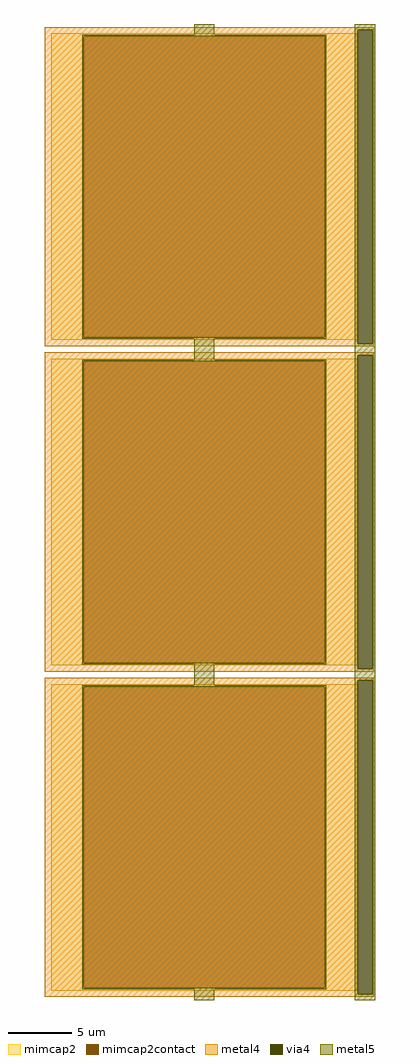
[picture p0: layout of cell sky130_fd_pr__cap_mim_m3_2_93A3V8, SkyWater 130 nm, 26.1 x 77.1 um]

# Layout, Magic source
magic
tech sky130A
magscale 1 2
<< metal4 >>
rect -2599 7619 2599 7660
rect -2599 2661 2343 7619
rect 2579 2661 2599 7619
rect -2599 2620 2599 2661
rect -2599 2479 2599 2520
rect -2599 -2479 2343 2479
rect 2579 -2479 2599 2479
rect -2599 -2520 2599 -2479
rect -2599 -2661 2599 -2620
rect -2599 -7619 2343 -2661
rect 2579 -7619 2599 -2661
rect -2599 -7660 2599 -7619
<< via4 >>
rect 2343 2661 2579 7619
rect 2343 -2479 2579 2479
rect 2343 -7619 2579 -2661
<< mimcap2 >>
rect -2499 7520 2341 7560
rect -2499 2760 -1983 7520
rect 1825 2760 2341 7520
rect -2499 2720 2341 2760
rect -2499 2380 2341 2420
rect -2499 -2380 -1983 2380
rect 1825 -2380 2341 2380
rect -2499 -2420 2341 -2380
rect -2499 -2760 2341 -2720
rect -2499 -7520 -1983 -2760
rect 1825 -7520 2341 -2760
rect -2499 -7560 2341 -7520
<< mimcap2contact >>
rect -1983 2760 1825 7520
rect -1983 -2380 1825 2380
rect -1983 -7520 1825 -2760
<< metal5 >>
rect -239 7544 81 7710
rect 2301 7619 2621 7710
rect -2007 7520 1849 7544
rect -2007 2760 -1983 7520
rect 1825 2760 1849 7520
rect -2007 2736 1849 2760
rect -239 2404 81 2736
rect 2301 2661 2343 7619
rect 2579 2661 2621 7619
rect 2301 2479 2621 2661
rect -2007 2380 1849 2404
rect -2007 -2380 -1983 2380
rect 1825 -2380 1849 2380
rect -2007 -2404 1849 -2380
rect -239 -2736 81 -2404
rect 2301 -2479 2343 2479
rect 2579 -2479 2621 2479
rect 2301 -2661 2621 -2479
rect -2007 -2760 1849 -2736
rect -2007 -7520 -1983 -2760
rect 1825 -7520 1849 -2760
rect -2007 -7544 1849 -7520
rect -239 -7710 81 -7544
rect 2301 -7619 2343 -2661
rect 2579 -7619 2621 -2661
rect 2301 -7710 2621 -7619
<< properties >>
string FIXED_BBOX -2599 2620 2441 7660
string gencell sky130_fd_pr__cap_mim_m3_2
string library sky130
string parameters w 24.2 l 24.2 val 1.189k carea 2.00 cperi 0.19 nx 1 ny 3 dummy 0 square 0 lmin 2.00 wmin 2.00 lmax 30.0 wmax 30.0 dc 0 bconnect 1 tconnect 1 ccov 80
<< end >>
